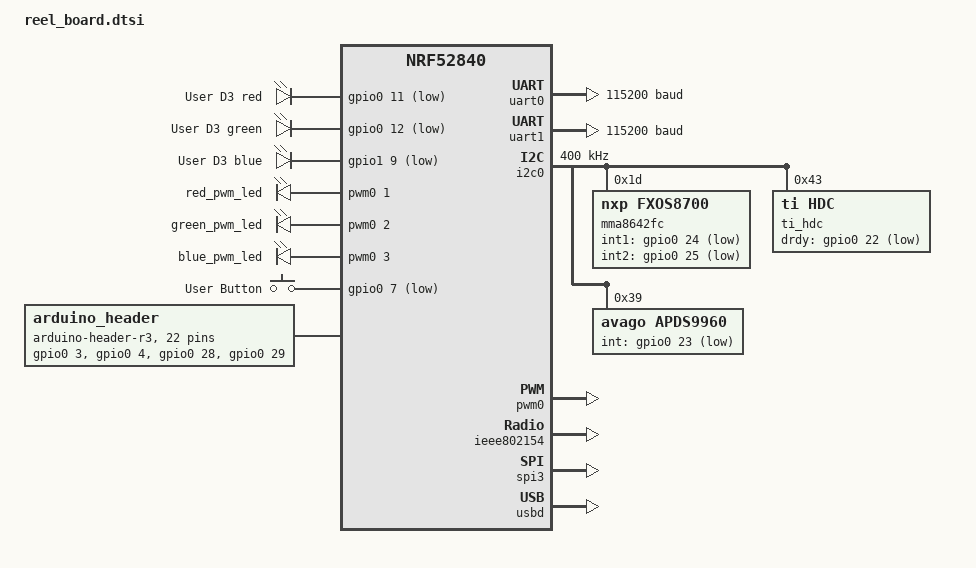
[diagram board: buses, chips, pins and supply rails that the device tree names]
/*
 * Copyright (c) 2018 Phytec Messtechnik GmbH
 * Copyright (c) 2017 Linaro Limited
 *
 * SPDX-License-Identifier: Apache-2.0
 */

#include <nordic/nrf52840_partition.dtsi>
#include "reel_board-pinctrl.dtsi"
#include <zephyr/dt-bindings/input/input-event-codes.h>

/ {
	chosen {
		zephyr,ieee802154 = &ieee802154;
	};

	leds {
		compatible = "gpio-leds";
		red_led: led_0 {
			gpios = <&gpio0 11 GPIO_ACTIVE_LOW>;
			label = "User D3 red";
		};
		green_led: led_1 {
			gpios = <&gpio0 12 GPIO_ACTIVE_LOW>;
			label = "User D3 green";
		};
		blue_led: led_2 {
			gpios = <&gpio1 9 GPIO_ACTIVE_LOW>;
			label = "User D3 blue";
		};
	};

	pwmleds {
		compatible = "pwm-leds";
		red_pwm_led: pwm_led_0 {
			pwms = <&pwm0 1 PWM_MSEC(20) PWM_POLARITY_INVERTED>;
		};
		green_pwm_led: pwm_led_1 {
			pwms = <&pwm0 2 PWM_MSEC(20) PWM_POLARITY_INVERTED>;
		};
		blue_pwm_led: pwm_led_2 {
			pwms = <&pwm0 3 PWM_MSEC(20) PWM_POLARITY_INVERTED>;
		};
	};

	gpio_keys {
		compatible = "gpio-keys";
		user_button: button_0 {
			gpios = <&gpio0 7 (GPIO_PULL_UP | GPIO_ACTIVE_LOW)>;
			label = "User Button";
			zephyr,code = <INPUT_KEY_0>;
		};
	};

	arduino_header: connector {
		compatible = "arduino-header-r3";
		#gpio-cells = <2>;
		gpio-map-mask = <0xffffffff 0xffffffc0>;
		gpio-map-pass-thru = <0 0x3f>;
		gpio-map = <0 0 &gpio0 3 0>,	/* A0 */
			   <1 0 &gpio0 4 0>,	/* A1 */
			   <2 0 &gpio0 28 0>,	/* A2 */
			   <3 0 &gpio0 29 0>,	/* A3 */
			   <4 0 &gpio0 30 0>,	/* A4 */
			   <5 0 &gpio0 31 0>,	/* A5 */
			   <6 0 &gpio1 1 0>,	/* D0 */
			   <7 0 &gpio1 2 0>,	/* D1 */
			   <8 0 &gpio1 3 0>,	/* D2 */
			   <9 0 &gpio1 4 0>,	/* D3 */
			   <10 0 &gpio1 5 0>,	/* D4 */
			   <11 0 &gpio1 6 0>,	/* D5 */
			   <12 0 &gpio1 7 0>,	/* D6 */
			   <13 0 &gpio1 8 0>,	/* D7 */
			   <14 0 &gpio1 10 0>,	/* D8 */
			   <15 0 &gpio1 11 0>,	/* D9 */
			   <16 0 &gpio1 12 0>,	/* D10 */
			   <17 0 &gpio1 13 0>,	/* D11 */
			   <18 0 &gpio1 14 0>,	/* D12 */
			   <19 0 &gpio1 15 0>,	/* D13 */
			   <20 0 &gpio0 26 0>,	/* D14 */
			   <21 0 &gpio0 27 0>;	/* D15 */
	};

	aliases {
		led0 = &red_led;
		led1 = &green_led;
		led2 = &blue_led;
		pwm-led0 = &red_pwm_led;
		pwm-led1 = &green_pwm_led;
		pwm-led2 = &blue_pwm_led;
		red-pwm-led = &red_pwm_led;
		green-pwm-led = &green_pwm_led;
		blue-pwm-led = &blue_pwm_led;
		sw0 = &user_button;
		accel0 = &mma8642fc;
	};
};

&reg1 {
	regulator-initial-mode = <NRF5X_REG_MODE_DCDC>;
};

&uicr {
	gpio-as-nreset;
};

&gpiote {
	status = "okay";
};

&gpio0 {
	status = "okay";
};

&gpio1 {
	status = "okay";
};

&uart0 {
	compatible = "nordic,nrf-uart";
	current-speed = <115200>;
	status = "okay";
	pinctrl-0 = <&uart0_default>;
	pinctrl-1 = <&uart0_sleep>;
	pinctrl-names = "default", "sleep";
};

arduino_serial: &uart1 {
	status = "okay";
	current-speed = <115200>;
	pinctrl-0 = <&uart1_default>;
	pinctrl-1 = <&uart1_sleep>;
	pinctrl-names = "default", "sleep";
};

arduino_i2c: &i2c0 {
	compatible = "nordic,nrf-twim";
	status = "okay";
	clock-frequency = <I2C_BITRATE_FAST>;

	pinctrl-0 = <&i2c0_default>;
	pinctrl-1 = <&i2c0_sleep>;
	pinctrl-names = "default", "sleep";
	mma8642fc: mma8652fc@1d {
		compatible = "nxp,fxos8700","nxp,mma8652fc";
		reg = <0x1d>;
		int1-gpios = <&gpio0 24 GPIO_ACTIVE_LOW>;
		int2-gpios = <&gpio0 25 GPIO_ACTIVE_LOW>;
	};

	ti_hdc@43 {
		compatible = "ti,hdc","ti,hdc1010";
		reg = <0x43>;
		drdy-gpios = <&gpio0 22 (GPIO_ACTIVE_LOW | GPIO_PULL_UP)>;
	};

	apds9960@39 {
		compatible = "avago,apds9960";
		reg = <0x39>;
		int-gpios = <&gpio0 23 (GPIO_ACTIVE_LOW | GPIO_PULL_UP)>;
	};
};

&pwm0 {
	status = "okay";
	pinctrl-0 = <&pwm0_default>;
	pinctrl-1 = <&pwm0_sleep>;
	pinctrl-names = "default", "sleep";
};

&ieee802154 {
	status = "okay";
};

arduino_spi: &spi3 {
	status = "okay";
	cs-gpios = <&arduino_header 16 GPIO_ACTIVE_LOW>; /* D10 */
	pinctrl-0 = <&spi3_default>;
	pinctrl-1 = <&spi3_sleep>;
	pinctrl-names = "default", "sleep";
};

zephyr_udc0: &usbd {
	compatible = "nordic,nrf-usbd";
	status = "okay";
};
